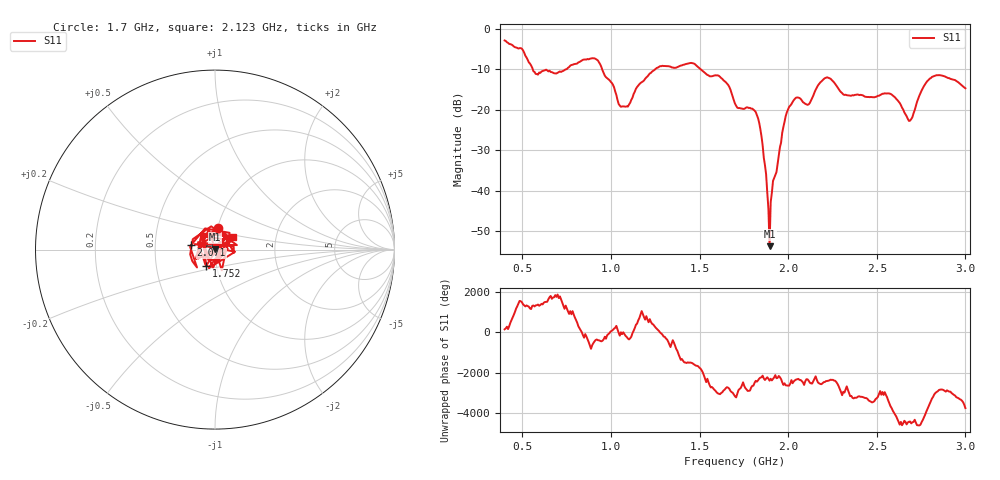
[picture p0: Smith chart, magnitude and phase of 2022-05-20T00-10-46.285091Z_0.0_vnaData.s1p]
!Created with skrf (http://scikit-rf.org).
# Hz S RI R 50.0
!freq ReS11 ImS11
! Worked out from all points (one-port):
!   401 points, 400 MHz to 3 GHz, reference 50 ohm
!   lowest |S11| = -53.7 dB at 1.895 GHz (marker M1), VSWR 1.00, Z = 49.8 + j0.138 ohm
!   |S11| at or under -10 dB: 558.8 MHz to 747 MHz (188.2 MHz wide, 28.8 % of centre); 950.4 MHz to 1.25 GHz (299.4 MHz wide, 27.2 % of centre); 1.507 GHz to end of sweep
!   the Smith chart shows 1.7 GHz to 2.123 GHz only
!   S11 on the Smith chart (normalised r, x): 1.7 GHz: 1.00, +0.24; 1.752 GHz: 0.89, -0.16; 2.071 GHz: 0.76, +0.04; 2.123 GHz: 1.20, +0.17
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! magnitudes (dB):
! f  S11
! 400 MHz  -2.9
! 497.5 MHz  -4.9
! 575.5 MHz  -11.2
! 725 MHz  -10.5
! 913.5 MHz  -7.4
! 1.05 GHz  -19.0
! 1.095 GHz  -19.2
! 1.154 GHz  -14.0
! 1.264 GHz  -9.6
! 1.375 GHz  -9.5
! 1.46 GHz  -8.5
! 1.609 GHz  -11.6
! 1.7 GHz  -18.5
! 1.752 GHz  -19.8
! 1.83 GHz  -22.1
! 1.856 GHz  -28.8
! 1.882 GHz  -40.4
! 1.895 GHz  -53.7
! 1.98 GHz  -23.0
! 2.025 GHz  -18.1
! 2.071 GHz  -17.3
! 2.123 GHz  -18.3
! 2.213 GHz  -12.1
! 2.35 GHz  -16.5
! 2.578 GHz  -16.1
! 2.675 GHz  -22.2
! 2.818 GHz  -11.8
! 3 GHz  -14.7
